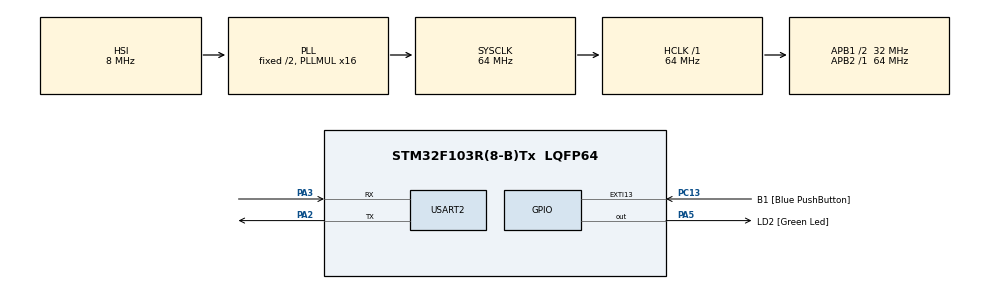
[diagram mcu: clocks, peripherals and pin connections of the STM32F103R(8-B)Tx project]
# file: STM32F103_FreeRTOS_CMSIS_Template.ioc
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FREERTOS.INCLUDE_uxTaskGetStackHighWaterMark2=1
FREERTOS.Queues01=myQueue,1,uint8_t,0,Dynamic,NULL,NULL
FREERTOS.Tasks01=myTaskSender,24,128,StartTaskSender,Default,NULL,Dynamic,NULL,NULL;myTaskReceiver,24,128,StartTaskReceiver,Default,NULL,Dynamic,NULL,NULL
FREERTOS.configUSE_NEWLIB_REENTRANT=1
Mcu.Family=STM32F1
Mcu.Name=STM32F103R(8-B)Tx
Mcu.Package=LQFP64
NVIC.EXTI15_10_IRQn=true\:5\:0\:false\:false\:true\:true\:true\:true\:true
NVIC.PriorityGroup=NVIC_PRIORITYGROUP_4
NVIC.TIM1_UP_IRQn=true\:15\:0\:false\:false\:true\:false\:false\:true\:true
NVIC.TimeBase=TIM1_UP_IRQn
NVIC.TimeBaseIP=TIM1
PA13.GPIO_Label=TMS
PA13.Mode=Trace_Asynchronous_SW
PA13.Signal=SYS_JTMS-SWDIO
PA14.GPIO_Label=TCK
PA14.Mode=Trace_Asynchronous_SW
PA14.Signal=SYS_JTCK-SWCLK
PA2.GPIO_Mode=GPIO_MODE_AF_PP
PA2.GPIO_PuPd=GPIO_NOPULL
PA2.GPIO_Speed=GPIO_SPEED_FREQ_HIGH
PA2.Mode=Asynchronous
PA2.Signal=USART2_TX
PA3.GPIO_Mode=GPIO_MODE_INPUT
PA3.GPIO_PuPd=GPIO_NOPULL
PA3.GPIO_Speed=GPIO_SPEED_FREQ_LOW
PA3.Mode=Asynchronous
PA3.Signal=USART2_RX
PA5.GPIO_Label=LD2 [Green Led]
PA5.GPIO_ModeDefaultOutputPP=GPIO_MODE_OUTPUT_PP
PA5.GPIO_PuPd=GPIO_NOPULL
PA5.GPIO_Speed=GPIO_SPEED_FREQ_LOW
PA5.Signal=GPIO_Output
PB3.GPIO_Label=SWO
PB3.Mode=Trace_Asynchronous_SW
PB3.Signal=SYS_JTDO-TRACESWO
PC13-TAMPER-RTC.GPIO_Label=B1 [Blue PushButton]
PC13-TAMPER-RTC.GPIO_ModeDefaultEXTI=GPIO_MODE_IT_RISING
PC13-TAMPER-RTC.GPIO_PuPd=GPIO_NOPULL
PC13-TAMPER-RTC.Signal=GPXTI13
PC14-OSC32_IN.Mode=LSE-External-Oscillator
PC14-OSC32_IN.Signal=RCC_OSC32_IN
PC15-OSC32_OUT.Mode=LSE-External-Oscillator
PC15-OSC32_OUT.Signal=RCC_OSC32_OUT
PD0-OSC_IN.Mode=HSE-External-Clock-Source
PD0-OSC_IN.Signal=RCC_OSC_IN
PD1-OSC_OUT.Mode=HSE-External-Clock-Source
PD1-OSC_OUT.Signal=RCC_OSC_OUT
ProjectManager.HeapSize=0x200
ProjectManager.StackSize=0x400
ProjectManager.TargetToolchain=STM32CubeIDE
RCC.AHBFreq_Value=64000000
RCC.APB1CLKDivider=RCC_HCLK_DIV2
RCC.APB1Freq_Value=32000000
RCC.APB1TimFreq_Value=64000000
RCC.APB2Freq_Value=64000000
RCC.APB2TimFreq_Value=64000000
RCC.HCLKFreq_Value=64000000
RCC.PLLMUL=RCC_PLL_MUL16
RCC.RTCClockSelection=RCC_RTCCLKSOURCE_LSE
RCC.SYSCLKFreq_VALUE=64000000
RCC.SYSCLKSource=RCC_SYSCLKSOURCE_PLLCLK
RCC.USBFreq_Value=64000000
USART2.VirtualMode=VM_ASYNC
VP_FREERTOS_VS_CMSIS_V2.Mode=CMSIS_V2
VP_SYS_VS_tim1.Mode=TIM1
board=NUCLEO-F103RB

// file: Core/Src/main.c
/* USER CODE BEGIN Header */
/**
  ******************************************************************************
  * @file           : main.c
  * @brief          : Main program body
  ******************************************************************************
  * @attention
  *
  * Copyright (c) 2025 STMicroelectronics.
  * All rights reserved.
  *
  * This software is licensed under terms that can be found in the LICENSE file
  * in the root directory of this software component.
  * If no LICENSE file comes with this software, it is provided AS-IS.
  *
  ******************************************************************************
  */
/* USER CODE END Header */
#include "main.h"
#include "cmsis_os.h"

/* USER CODE BEGIN Includes */
#include <string.h>
#include <stdio.h>
/* USER CODE END Includes */

UART_HandleTypeDef huart2;

/* Definitions for myTaskSender */
osThreadId_t myTaskSenderHandle;
const osThreadAttr_t myTaskSender_attributes = {
  .name = "myTaskSender",
  .stack_size = 128 * 4,
  .priority = (osPriority_t) osPriorityNormal,
};
/* Definitions for myTaskReceiver */
osThreadId_t myTaskReceiverHandle;
const osThreadAttr_t myTaskReceiver_attributes = {
  .name = "myTaskReceiver",
  .stack_size = 128 * 4,
  .priority = (osPriority_t) osPriorityNormal,
};
/* Definitions for myQueue */
osMessageQueueId_t myQueueHandle;
const osMessageQueueAttr_t myQueue_attributes = {
  .name = "myQueue"
};
/* USER CODE BEGIN PV */
const uint8_t SecretKey[] =
{
  0x11, 0x22, 0x33, 0x44, 0x55, 0x66, 0x77, 0x88, 0x99, 0x00, 0xAA, 0xBB, 0xCC, 0xDD, 0xEE, 0xFF
};
/* USER CODE END PV */

void SystemClock_Config(void);
static void MX_GPIO_Init(void);
static void MX_USART2_UART_Init(void);
void StartTaskSender(void *argument);
void StartTaskReceiver(void *argument);

/* USER CODE BEGIN PFP */
void TaskAction(char m);
/* USER CODE END PFP */

int main(void)
{

  /* MCU Configuration--------------------------------------------------------*/

  /* Reset of all peripherals, Initializes the Flash interface and the Systick. */
  HAL_Init();

  /* Configure the system clock */
  SystemClock_Config();

  /* Initialize all configured peripherals */
  MX_GPIO_Init();
  MX_USART2_UART_Init();

  /* Init scheduler */
  osKernelInitialize();

  /* Create the queue(s) */
  /* creation of myQueue */
  myQueueHandle = osMessageQueueNew (1, sizeof(uint8_t), &myQueue_attributes);

  /* Create the thread(s) */
  /* creation of myTaskSender */
  myTaskSenderHandle = osThreadNew(StartTaskSender, NULL, &myTaskSender_attributes);

  /* creation of myTaskReceiver */
  myTaskReceiverHandle = osThreadNew(StartTaskReceiver, NULL, &myTaskReceiver_attributes);

  /* Start scheduler */
  osKernelStart();

  /* We should never get here as control is now taken by the scheduler */

  /* Infinite loop */
  while (1)
  {

  }
}

void SystemClock_Config(void)
{
  RCC_OscInitTypeDef RCC_OscInitStruct = {0};
  RCC_ClkInitTypeDef RCC_ClkInitStruct = {0};

  /** Initializes the RCC Oscillators according to the specified parameters
  * in the RCC_OscInitTypeDef structure.
  */
  RCC_OscInitStruct.OscillatorType = RCC_OSCILLATORTYPE_HSI;
  RCC_OscInitStruct.HSIState = RCC_HSI_ON;
  RCC_OscInitStruct.HSICalibrationValue = RCC_HSICALIBRATION_DEFAULT;
  RCC_OscInitStruct.PLL.PLLState = RCC_PLL_ON;
  RCC_OscInitStruct.PLL.PLLSource = RCC_PLLSOURCE_HSI_DIV2;
  RCC_OscInitStruct.PLL.PLLMUL = RCC_PLL_MUL16;
  if (HAL_RCC_OscConfig(&RCC_OscInitStruct) != HAL_OK)
  {
    Error_Handler();
  }

  /** Initializes the CPU, AHB and APB buses clocks
  */
  RCC_ClkInitStruct.ClockType = RCC_CLOCKTYPE_HCLK|RCC_CLOCKTYPE_SYSCLK
                              |RCC_CLOCKTYPE_PCLK1|RCC_CLOCKTYPE_PCLK2;
  RCC_ClkInitStruct.SYSCLKSource = RCC_SYSCLKSOURCE_PLLCLK;
  RCC_ClkInitStruct.AHBCLKDivider = RCC_SYSCLK_DIV1;
  RCC_ClkInitStruct.APB1CLKDivider = RCC_HCLK_DIV2;
  RCC_ClkInitStruct.APB2CLKDivider = RCC_HCLK_DIV1;

  if (HAL_RCC_ClockConfig(&RCC_ClkInitStruct, FLASH_LATENCY_2) != HAL_OK)
  {
    Error_Handler();
  }
}

static void MX_USART2_UART_Init(void)
{

  huart2.Instance = USART2;
  huart2.Init.BaudRate = 115200;
  huart2.Init.WordLength = UART_WORDLENGTH_8B;
  huart2.Init.StopBits = UART_STOPBITS_1;
  huart2.Init.Parity = UART_PARITY_NONE;
  huart2.Init.Mode = UART_MODE_TX_RX;
  huart2.Init.HwFlowCtl = UART_HWCONTROL_NONE;
  huart2.Init.OverSampling = UART_OVERSAMPLING_16;
  if (HAL_UART_Init(&huart2) != HAL_OK)
  {
    Error_Handler();
  }

}

static void MX_GPIO_Init(void)
{
  GPIO_InitTypeDef GPIO_InitStruct = {0};

  /* GPIO Ports Clock Enable */
  __HAL_RCC_GPIOC_CLK_ENABLE();
  __HAL_RCC_GPIOD_CLK_ENABLE();
  __HAL_RCC_GPIOA_CLK_ENABLE();
  __HAL_RCC_GPIOB_CLK_ENABLE();

  /*Configure GPIO pin Output Level */
  HAL_GPIO_WritePin(LD2_GPIO_Port, LD2_Pin, GPIO_PIN_RESET);

  /*Configure GPIO pin : B1_Pin */
  GPIO_InitStruct.Pin = B1_Pin;
  GPIO_InitStruct.Mode = GPIO_MODE_IT_RISING;
  GPIO_InitStruct.Pull = GPIO_NOPULL;
  HAL_GPIO_Init(B1_GPIO_Port, &GPIO_InitStruct);

  /*Configure GPIO pin : LD2_Pin */
  GPIO_InitStruct.Pin = LD2_Pin;
  GPIO_InitStruct.Mode = GPIO_MODE_OUTPUT_PP;
  GPIO_InitStruct.Pull = GPIO_NOPULL;
  GPIO_InitStruct.Speed = GPIO_SPEED_FREQ_LOW;
  HAL_GPIO_Init(LD2_GPIO_Port, &GPIO_InitStruct);

  /* EXTI interrupt init*/
  HAL_NVIC_SetPriority(EXTI15_10_IRQn, 5, 0);
  HAL_NVIC_EnableIRQ(EXTI15_10_IRQn);

}

/* USER CODE BEGIN 4 */
void TaskAction(char m) {
//	uint8_t len = strlen(m);
//	uint8_t i = 0;
//	for (i=0; i<len; i++) ITM_SendChar(m[i]);
	ITM_SendChar(m);
	ITM_SendChar('\n');
}
/* USER CODE END 4 */

void StartTaskSender(void *argument)
{
  /* USER CODE BEGIN 5 */
	uint8_t data = 1;

  /* Infinite loop */
  for(;;)
  {
	  //osMessageQueuePut(myQueueHandle, &data, 0, 0);
	  //osDelay(1000);
	  if (osMessageQueueGet(myQueueHandle, &data, NULL, 2000) != osOK)
		  osMessageQueuePut(myQueueHandle, &data, 0, 0);
	  else
		  osThreadYield();
	  //TaskAction('S');
	  //osDelay(500);
  }
  /* USER CODE END 5 */
}

void StartTaskReceiver(void *argument)
{
  /* USER CODE BEGIN StartTaskReceiver */
	//uint8_t data = 0;
	osThreadState_t threadState;
	char msg[30];

  /* Infinite loop */
  for(;;)
  {
	  threadState = osThreadGetState(myTaskSenderHandle);
	  if (threadState == osThreadBlocked)
		  sprintf(msg, "Empty\n");
	  else
		  sprintf(msg, "Available\n");
	  HAL_UART_Transmit(&huart2, (uint8_t*)msg, (uint16_t)strlen(msg), 10);
	  osDelay(500);

	  //if (threadState == osThreadBlocked) osMessageQueueGet(myQueueHandle, &data, 0, 0);
  }
  /* USER CODE END StartTaskReceiver */
}

void HAL_TIM_PeriodElapsedCallback(TIM_HandleTypeDef *htim)
{
  if (htim->Instance == TIM1)
  {
    HAL_IncTick();
  }
}

void Error_Handler(void)
{
  __disable_irq();
  while (1)
  {
  }
}
